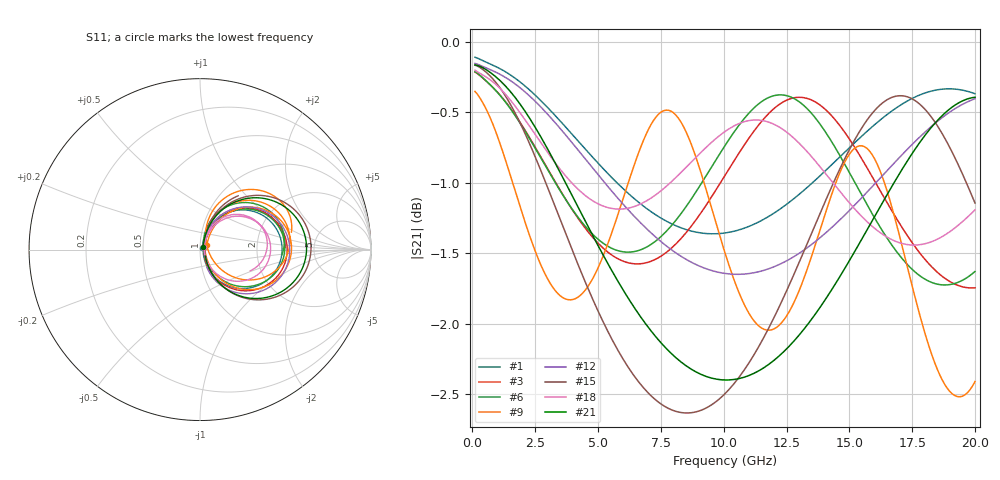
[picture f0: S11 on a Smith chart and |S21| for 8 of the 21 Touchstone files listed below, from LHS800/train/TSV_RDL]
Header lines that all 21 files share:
! Touchstone file exported from HFSS 2026.1.0
!  Design:  TSV_RDL
! Variables:
! Terminal data exported
# GHz S MA R 50.000000
Fixed: h_ox = 20um, h_rdl = 5um, h_via = 3um, m_sub = 200um, s_tmrdl = 10um, w_sub = 500um
Also varied, not listed: x_tsv_center2, x_tsv_center3, x_tsv_center4, x_tsv_center5, x_tsv_center6
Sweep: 100 MHz to 20 GHz
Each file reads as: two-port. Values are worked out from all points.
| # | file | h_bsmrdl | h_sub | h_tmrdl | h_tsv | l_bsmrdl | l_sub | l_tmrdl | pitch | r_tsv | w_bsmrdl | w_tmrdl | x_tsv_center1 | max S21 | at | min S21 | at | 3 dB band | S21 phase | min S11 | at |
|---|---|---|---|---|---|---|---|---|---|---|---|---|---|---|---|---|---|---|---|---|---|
| 1 | dut862.s2p | 3.35um | 86.06um | 4.49um | 86.06um | 691.67um | 3024.62um | 101.74um | 50.18um | 6.39um | 27.13um | 20.42um | 111.95um | -0.11 dB | 100 MHz | -1.4 dB | 9.6 GHz | 100 MHz-20 GHz | -93 deg at 10.1 GHz | -35.9 dB | 100 MHz |
| 2 | dut864.s2p | 3um | 83.71um | 4.91um | 83.71um | 395.47um | 3409.54um | 433.11um | 56.93um | 8.66um | 10.02um | 20.21um | 443.215um | -0.19 dB | 100 MHz | -2.5 dB | 8.6 GHz | 100 MHz-20 GHz | -101 deg at 10.1 GHz | -31.4 dB | 100 MHz |
| 3 | dut866.s2p | 2.31um | 66.71um | 2.75um | 66.71um | 556.38um | 4646.68um | 605.22um | 49.88um | 5.89um | 27.11um | 25.11um | 617.775um | -0.21 dB | 100 MHz | -1.7 dB | 19.9 GHz | 100 MHz-20 GHz | -131 deg at 10.1 GHz | -33.0 dB | 13.2 GHz |
| 4 | dut867.s2p | 2.23um | 77.19um | 5.18um | 77.19um | 260.51um | 5014.92um | 940.7um | 47.88um | 5.55um | 10.25um | 13.28um | 947.34um | -0.29 dB | 100 MHz | -2.9 dB | 18.4 GHz | 100 MHz-20 GHz | -141 deg at 10.1 GHz | -28.7 dB | 12.2 GHz |
| 5 | dut870.s2p | 4.24um | 60.47um | 4.34um | 60.47um | 718.93um | 5301.98um | 658.6um | 41.87um | 9.91um | 11.46um | 25.47um | 671.335um | -0.22 dB | 100 MHz | -2.0 dB | 18.4 GHz | 100 MHz-20 GHz | -151 deg at 10.1 GHz | -30.3 dB | 100 MHz |
| 6 | dut871.s2p | 2.19um | 86.17um | 4.43um | 86.17um | 965.31um | 4421.98um | 251.19um | 55.69um | 14.18um | 29.79um | 10.64um | 256.51um | -0.21 dB | 100 MHz | -1.7 dB | 18.8 GHz | 100 MHz-20 GHz | -136 deg at 10.1 GHz | -33.4 dB | 12.4 GHz |
| 7 | dut872.s2p | 5.3um | 96.77um | 4.54um | 96.77um | 589.15um | 3158.31um | 217.94um | 58.58um | 11.3um | 24.71um | 14.99um | 225.435um | -0.09 dB | 100 MHz | -1.6 dB | 8.6 GHz | 100 MHz-20 GHz | -99 deg at 10.1 GHz | -35.7 dB | 100 MHz |
| 8 | dut874.s2p | 4.35um | 93.42um | 4.67um | 93.42um | 824.78um | 4390.76um | 345.91um | 50.56um | 13.87um | 29.48um | 14.78um | 353.3um | -0.13 dB | 100 MHz | -1.3 dB | 18.4 GHz | 100 MHz-20 GHz | -137 deg at 10.1 GHz | -35.6 dB | 12.2 GHz |
| 9 | dut875.s2p | 4.71um | 97.66um | 2.44um | 97.66um | 912.21um | 7218.66um | 984.68um | 52um | 7.22um | 29.57um | 18.2um | 993.78um | -0.35 dB | 100 MHz | -2.5 dB | 19.4 GHz | 100 MHz-20 GHz | 134 deg at 10.1 GHz | -30.1 dB | 7.8 GHz |
| 10 | dut876.s2p | 3.88um | 84.17um | 4.19um | 84.17um | 429.81um | 4794.61um | 741.48um | 47.09um | 7.49um | 23.84um | 22.58um | 752.77um | -0.16 dB | 100 MHz | -1.6 dB | 18.6 GHz | 100 MHz-20 GHz | -140 deg at 10.1 GHz | -33.0 dB | 12.4 GHz |
| 11 | dut878.s2p | 5.4um | 65.34um | 2.28um | 65.34um | 656.46um | 5444.72um | 739.75um | 35.58um | 4.72um | 27.4um | 11.38um | 745.44um | -0.41 dB | 100 MHz | -1.8 dB | 14.9 GHz | 100 MHz-20 GHz | -169 deg at 10.1 GHz | -31.6 dB | 9.8 GHz |
| 12 | dut879.s2p | 2.05um | 86.51um | 3.26um | 86.51um | 168.26um | 2722.51um | 418.38um | 48.34um | 3.51um | 22.23um | 25.84um | 431.3um | -0.15 dB | 100 MHz | -1.7 dB | 10.5 GHz | 100 MHz-20 GHz | -86 deg at 10.1 GHz | -34.0 dB | 100 MHz |
| 13 | dut880.s2p | 2.2um | 93.6um | 3.5um | 93.6um | 699.67um | 5170.36um | 634.62um | 48.71um | 4.09um | 23.48um | 20.81um | 645.025um | -0.27 dB | 100 MHz | -2.1 dB | 17.1 GHz | 100 MHz-20 GHz | -155 deg at 10.1 GHz | -31.0 dB | 11.4 GHz |
| 14 | dut882.s2p | 3.83um | 60.68um | 4.14um | 60.68um | 693.9um | 3092.65um | 132.72um | 37.27um | 8.51um | 12.45um | 14.24um | 139.84um | -0.17 dB | 100 MHz | -1.9 dB | 9.9 GHz | 100 MHz-20 GHz | -91 deg at 10.1 GHz | -32.8 dB | 100 MHz |
| 15 | dut884.s2p | 4.36um | 73.96um | 3.92um | 73.96um | 306.37um | 3455.94um | 508.28um | 57.62um | 6.58um | 20.65um | 13.92um | 515.24um | -0.16 dB | 100 MHz | -2.6 dB | 8.5 GHz | 100 MHz-20 GHz | -99 deg at 10.1 GHz | -32.0 dB | 100 MHz |
| 16 | dut885.s2p | 5.07um | 59.14um | 4.83um | 59.14um | 913.74um | 6589.8um | 836.3um | 52.86um | 11.67um | 20.14um | 14.32um | 843.46um | -0.24 dB | 100 MHz | -2.6 dB | 14.1 GHz | 100 MHz-20 GHz | 168 deg at 10.1 GHz | -29.4 dB | 9.4 GHz |
| 17 | dut886.s2p | 2.53um | 87.92um | 2.69um | 87.92um | 908.53um | 6760.89um | 873.65um | 44.99um | 13.4um | 27.09um | 19.81um | 883.555um | -0.33 dB | 100 MHz | -1.9 dB | 20 GHz | 100 MHz-20 GHz | 148 deg at 10.1 GHz | -32.7 dB | 8.2 GHz |
| 18 | dut887.s2p | 5.48um | 91.65um | 5.48um | 91.65um | 589.41um | 4970.47um | 676.17um | 31.31um | 4.48um | 18.54um | 13.98um | 683.16um | -0.20 dB | 100 MHz | -1.4 dB | 17.6 GHz | 100 MHz-20 GHz | -149 deg at 10.1 GHz | -32.1 dB | 11.7 GHz |
| 19 | dut894.s2p | 3.08um | 57.69um | 3.96um | 57.69um | 663.24um | 3076.56um | 128.63um | 52.29um | 14.72um | 27.96um | 29.48um | 143.37um | -0.09 dB | 100 MHz | -1.1 dB | 10.2 GHz | 100 MHz-20 GHz | -89 deg at 10.1 GHz | -37.2 dB | 100 MHz |
| 20 | dut898.s2p | 2.11um | 56.61um | 5.82um | 56.61um | 746.14um | 6551.86um | 946.38um | 56.86um | 7.09um | 22.16um | 20.48um | 956.62um | -0.26 dB | 100 MHz | -2.5 dB | 14.8 GHz | 100 MHz-20 GHz | 175 deg at 10.1 GHz | -30.2 dB | 9.9 GHz |
| 21 | dut899.s2p | 3.56um | 87.26um | 4.08um | 87.26um | 261.7um | 2752.68um | 373.16um | 49.03um | 6.67um | 11.74um | 13.24um | 379.78um | -0.16 dB | 100 MHz | -2.4 dB | 10.1 GHz | 100 MHz-20 GHz | -87 deg at 10.1 GHz | -32.9 dB | 100 MHz |
